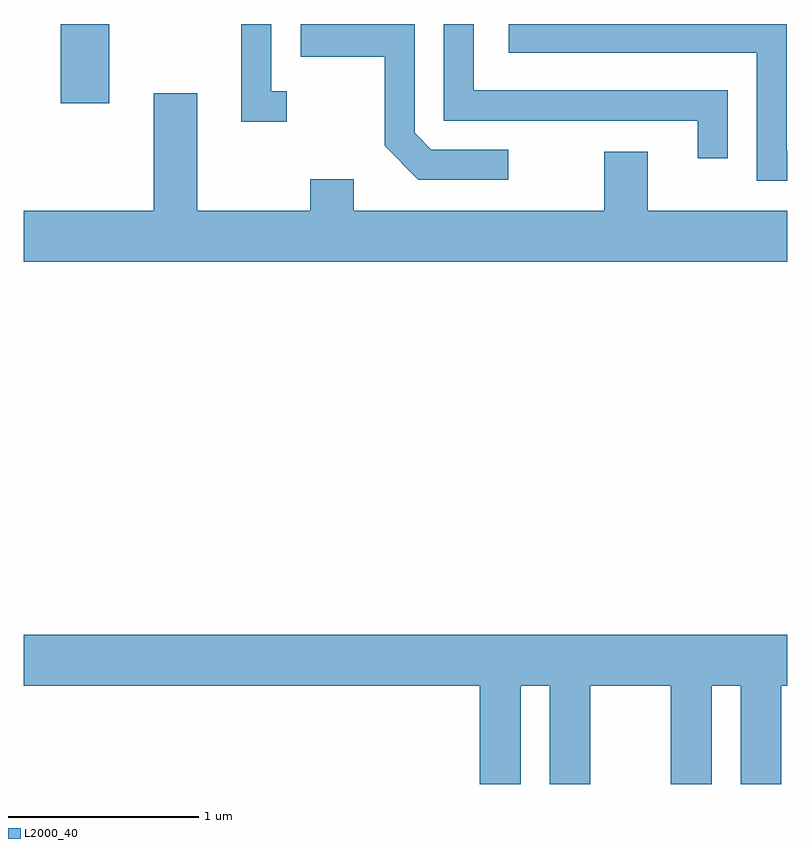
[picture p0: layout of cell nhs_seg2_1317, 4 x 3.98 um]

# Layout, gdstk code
import gdstk
lib = gdstk.Library(unit=1e-6, precision=1e-09)
def R(c, l, rs):  # rectangles x0, y0, x1, y1
    for r in rs: c.add(gdstk.rectangle(r[:2], r[2:], *l))
def P(c, l, *ps):  # polygons
    for p in ps: c.add(gdstk.Polygon(p, *l))
L2000_40 = (2000, 40)

nhs_seg2_1317 = lib.new_cell('nhs_seg2_1317')
R(nhs_seg2_1317, L2000_40, [(223.806,1031.386,224.059,1031.802)])
P(nhs_seg2_1317, L2000_40, [(227.611,1031.139),(227.609,1031.139),(227.609,1031.802),(226.151,1031.802),(226.151,1031.651),(227.451,1031.651),(227.451,1030.981),(227.611,1030.981)],
  [(224.988,1031.449),(224.909,1031.449),(224.909,1031.802),(224.751,1031.802),(224.751,1031.291),(224.988,1031.291)],
  [(227.299,1031.454),(225.969,1031.454),(225.969,1031.802),(225.811,1031.802),(225.811,1031.296),(227.141,1031.296),(227.141,1031.098),(227.299,1031.098)],
  [(226.148,1031.144),(225.747,1031.144),(225.659,1031.232),(225.659,1031.802),(225.061,1031.802),(225.061,1031.631),(225.501,1031.631),(225.501,1031.164),(225.679,1030.986),(226.148,1030.986)],
  [(227.611,1030.824),(226.879,1030.824),(226.879,1031.134),(226.651,1031.134),(226.651,1030.824),(225.339,1030.824),(225.339,1030.989),(225.111,1030.989),(225.111,1030.824),(224.519,1030.824),(224.519,1031.439),(224.291,1031.439),(224.291,1030.824),(223.611,1030.824),(223.611,1030.556),(227.611,1030.556)],
  [(226.214,1028.336),(226.366,1028.336),(226.366,1027.821),(226.579,1027.821),(226.579,1028.336),(227.001,1028.336),(227.001,1027.821),(227.214,1027.821),(227.214,1028.336),(227.366,1028.336),(227.366,1027.821),(227.579,1027.821),(227.579,1028.336),(227.611,1028.336),(227.611,1028.604),(223.611,1028.604),(223.611,1028.336),(226.001,1028.336),(226.001,1027.821),(226.214,1027.821)])

lib.write_gds('nhs_seg2_1317.gds')
